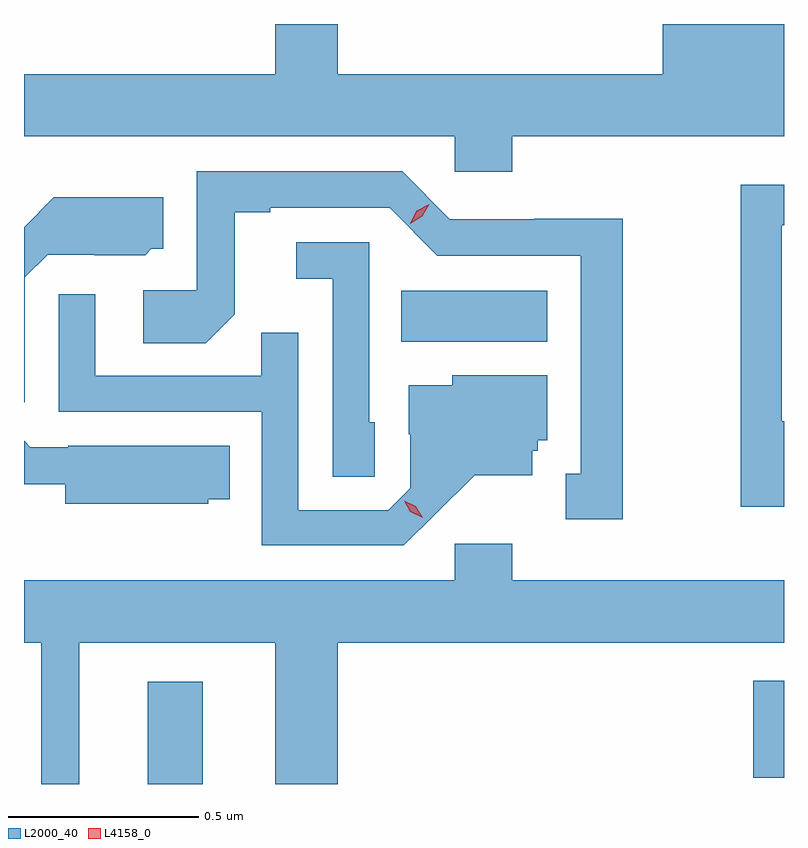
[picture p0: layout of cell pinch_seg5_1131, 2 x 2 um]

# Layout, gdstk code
import gdstk
lib = gdstk.Library(unit=1e-6, precision=1e-09)
def R(c, l, rs):  # rectangles x0, y0, x1, y1
    for r in rs: c.add(gdstk.rectangle(r[:2], r[2:], *l))
def P(c, l, *ps):  # polygons
    for p in ps: c.add(gdstk.Polygon(p, *l))
L2000_40 = (2000, 40)
L4158_0 = (4158, 0)

pinch_seg5_1131 = lib.new_cell('pinch_seg5_1131')
R(pinch_seg5_1131, L2000_40, [(800.036,863.048,800.182,863.317), (801.63,863.064,801.711,863.32), (800.704,864.212,801.088,864.346)])
P(pinch_seg5_1131, L2000_40, [(800.996,864.752),(801.711,864.752),(801.711,865.048),(801.392,865.048),(801.392,864.916),(800.536,864.916),(800.536,865.048),(800.372,865.048),(800.372,864.916),(799.711,864.916),(799.711,864.752),(800.844,864.752),(800.844,864.659),(800.996,864.659)],
  [(801.287,864.536),(801.054,864.536),(801.054,864.534),(800.832,864.534),(800.706,864.66),(800.166,864.66),(800.166,864.348),(800.025,864.348),(800.025,864.208),(800.189,864.208),(800.265,864.284),(800.265,864.552),(800.359,864.552),(800.359,864.564),(800.673,864.564),(800.799,864.438),(801.176,864.438),(801.176,863.865),(801.137,863.865),(801.137,863.745),(801.287,863.745)],
  [(801.711,864.003),(801.705,864.003),(801.705,864.519),(801.711,864.519),(801.711,864.625),(801.597,864.625),(801.597,863.778),(801.711,863.778)],
  [(799.713,864.381),(799.773,864.441),(799.896,864.441),(799.896,864.44),(800.03,864.44),(800.046,864.456),(800.077,864.456),(800.077,864.592),(799.789,864.592),(799.711,864.513),(799.711,864.052),(799.713,864.052)],
  [(800.634,864),(800.619,864),(800.619,864.474),(800.427,864.474),(800.427,864.377),(800.523,864.377),(800.523,863.857),(800.634,863.857)],
  [(800.794,863.759),(800.897,863.861),(801.049,863.861),(801.049,863.925),(801.063,863.925),(801.063,863.952),(801.088,863.952),(801.088,864.124),(800.838,864.124),(800.838,864.097),(800.723,864.097),(800.723,863.968),(800.727,863.968),(800.727,863.826),(800.67,863.769),(800.433,863.769),(800.433,864.236),(800.335,864.236),(800.335,864.123),(799.899,864.123),(799.899,864.337),(799.803,864.337),(799.803,864.027),(800.337,864.027),(800.337,863.676),(800.71,863.676)],
  [(800.196,863.798),(800.252,863.798),(800.252,863.938),(799.828,863.938),(799.828,863.934),(799.728,863.934),(799.711,863.951),(799.711,863.837),(799.82,863.837),(799.82,863.786),(800.196,863.786)],
  [(799.856,863.42),(800.372,863.42),(800.372,863.048),(800.536,863.048),(800.536,863.42),(801.711,863.42),(801.711,863.584),(800.996,863.584),(800.996,863.68),(800.844,863.68),(800.844,863.584),(799.711,863.584),(799.711,863.42),(799.757,863.42),(799.757,863.048),(799.856,863.048)])
P(pinch_seg5_1131, L4158_0, [(800.727,864.523),(800.727,864.524),(800.745,864.556),(800.777,864.574),(800.777,864.574),(800.777,864.574),(800.759,864.542),(800.727,864.523)],
  [(800.76,863.749),(800.728,863.764),(800.711,863.793),(800.711,863.794),(800.711,863.794),(800.742,863.779),(800.76,863.749),(800.76,863.749)])

lib.write_gds('pinch_seg5_1131.gds')
